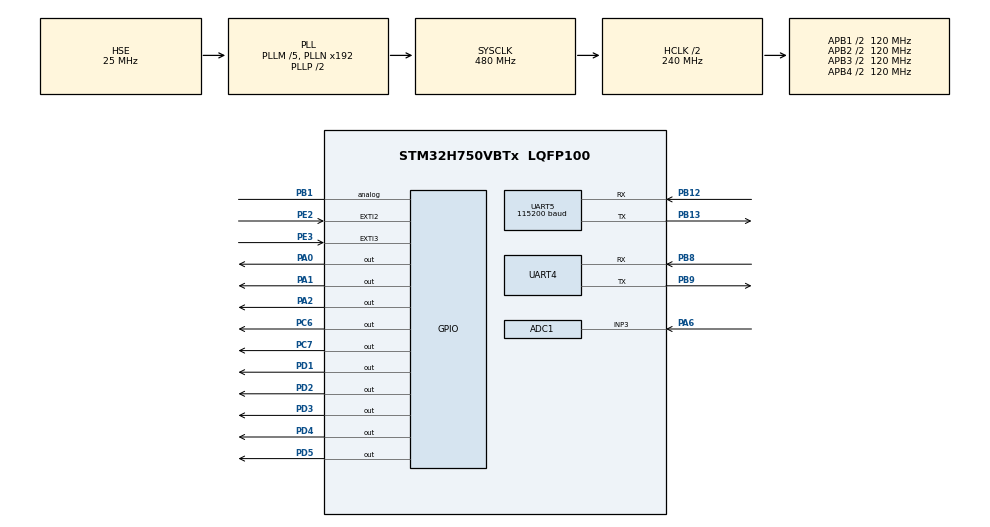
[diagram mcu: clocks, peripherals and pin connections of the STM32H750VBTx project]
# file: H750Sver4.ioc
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ADC1.Channel-0\#ChannelRegularConversion=ADC_CHANNEL_3
ADC1.ConversionDataManagement=ADC_CONVERSIONDATA_DMA_CIRCULAR
ADC1.ExternalTrigConv=ADC_EXTERNALTRIG_T1_TRGO
ADC1.NbrOfConversionFlag=1
ADC1.OffsetNumber-0\#ChannelRegularConversion=ADC_OFFSET_NONE
ADC1.OffsetSignedSaturation-0\#ChannelRegularConversion=DISABLE
ADC1.Overrun=ADC_OVR_DATA_OVERWRITTEN
ADC1.OversamplingMode=DISABLE
ADC1.Rank-0\#ChannelRegularConversion=1
ADC1.SamplingTime-0\#ChannelRegularConversion=ADC_SAMPLETIME_1CYCLE_5
ADC1.master=1
CORTEX_M7.default_mode_Activation=1
Dma.ADC1.0.Direction=DMA_PERIPH_TO_MEMORY
Dma.ADC1.0.EventEnable=DISABLE
Dma.ADC1.0.FIFOMode=DMA_FIFOMODE_DISABLE
Dma.ADC1.0.Instance=DMA1_Stream0
Dma.ADC1.0.MemDataAlignment=DMA_MDATAALIGN_WORD
Dma.ADC1.0.MemInc=DMA_MINC_ENABLE
Dma.ADC1.0.Mode=DMA_CIRCULAR
Dma.ADC1.0.PeriphDataAlignment=DMA_PDATAALIGN_WORD
Dma.ADC1.0.PeriphInc=DMA_PINC_DISABLE
Dma.ADC1.0.Polarity=HAL_DMAMUX_REQ_GEN_RISING
Dma.ADC1.0.Priority=DMA_PRIORITY_LOW
Dma.ADC1.0.RequestNumber=1
Dma.ADC1.0.SignalID=NONE
Dma.ADC1.0.SyncEnable=DISABLE
Dma.ADC1.0.SyncPolarity=HAL_DMAMUX_SYNC_NO_EVENT
Dma.ADC1.0.SyncRequestNumber=1
Dma.ADC1.0.SyncSignalID=NONE
Dma.Request0=ADC1
Mcu.Family=STM32H7
Mcu.Name=STM32H750VBTx
Mcu.Package=LQFP100
NVIC.ADC_IRQn=true\:2\:1\:true\:false\:true\:true\:true\:true
NVIC.DMA1_Stream0_IRQn=true\:2\:0\:true\:false\:true\:false\:true\:true
NVIC.EXTI2_IRQn=true\:5\:0\:true\:false\:true\:true\:true\:true
NVIC.EXTI3_IRQn=true\:5\:0\:true\:false\:true\:true\:true\:true
NVIC.PriorityGroup=NVIC_PRIORITYGROUP_3
NVIC.TIM1_UP_IRQn=true\:3\:0\:true\:false\:true\:true\:true\:true
NVIC.UART4_IRQn=true\:4\:0\:true\:false\:true\:true\:true\:true
NVIC.UART5_IRQn=true\:4\:0\:true\:false\:true\:true\:true\:true
PA0.Signal=GPIO_Output
PA1.GPIO_Speed=GPIO_SPEED_FREQ_LOW
PA1.Signal=GPIO_Output
PA13\ (JTMS/SWDIO).Mode=Serial_Wire
PA13\ (JTMS/SWDIO).Signal=DEBUG_JTMS-SWDIO
PA14\ (JTCK/SWCLK).Mode=Serial_Wire
PA14\ (JTCK/SWCLK).Signal=DEBUG_JTCK-SWCLK
PA2.GPIO_Speed=GPIO_SPEED_FREQ_LOW
PA2.Signal=GPIO_Output
PA6.Signal=SharedAnalog_PA6
PB1.Signal=SharedAnalog_PB1
PB12.Mode=Asynchronous
PB12.Signal=UART5_RX
PB13.Mode=Asynchronous
PB13.Signal=UART5_TX
PB8.Mode=Asynchronous
PB8.Signal=UART4_RX
PB9.Mode=Asynchronous
PB9.Signal=UART4_TX
PC6.GPIO_Speed=GPIO_SPEED_FREQ_HIGH
PC6.Signal=GPIO_Output
PC7.GPIO_Speed=GPIO_SPEED_FREQ_HIGH
PC7.Signal=GPIO_Output
PD1.Signal=GPIO_Output
PD2.Signal=GPIO_Output
PD3.Signal=GPIO_Output
PD4.Signal=GPIO_Output
PD5.Signal=GPIO_Output
PE2.GPIO_ModeDefaultEXTI=GPIO_MODE_IT_FALLING
PE2.GPIO_PuPd=GPIO_PULLDOWN
PE2.Signal=GPXTI2
PE3.GPIO_ModeDefaultEXTI=GPIO_MODE_IT_FALLING
PE3.GPIO_PuPd=GPIO_PULLDOWN
PE3.Signal=GPXTI3
PH0-OSC_IN\ (PH0).Mode=HSE-External-Oscillator
PH0-OSC_IN\ (PH0).Signal=RCC_OSC_IN
PH1-OSC_OUT\ (PH1).Mode=HSE-External-Oscillator
PH1-OSC_OUT\ (PH1).Signal=RCC_OSC_OUT
ProjectManager.HeapSize=0x200
ProjectManager.StackSize=0x400
ProjectManager.TargetToolchain=CMake
RCC.ADCCLockSelection=RCC_ADCCLKSOURCE_PLL3
RCC.ADCFreq_Value=20000000
RCC.APB1Freq_Value=120000000
RCC.APB2Freq_Value=120000000
RCC.APB3Freq_Value=120000000
RCC.APB4Freq_Value=120000000
RCC.CortexFreq_Value=480000000
RCC.D1PPRE=RCC_APB3_DIV2
RCC.D2PPRE1=RCC_APB1_DIV2
RCC.D2PPRE2=RCC_APB2_DIV2
RCC.D3PPRE=RCC_APB4_DIV2
RCC.DIVM1=5
RCC.DIVM2=25
RCC.DIVM3=25
RCC.DIVN1=192
RCC.DIVN2=240
RCC.DIVN3=200
RCC.DIVQ3=10
RCC.DIVR3=10
RCC.HCLKFreq_Value=240000000
RCC.HPRE=RCC_HCLK_DIV2
RCC.PLLSourceVirtual=RCC_PLLSOURCE_HSE
RCC.SYSCLKFreq_VALUE=480000000
RCC.SYSCLKSource=RCC_SYSCLKSOURCE_PLLCLK
RCC.USBFreq_Value=480000000
SH.SharedAnalog_PA6.0=GPIO_Analog
SH.SharedAnalog_PA6.1=ADC1_INP3,IN3-Single-Ended
SH.SharedAnalog_PB1.0=GPIO_Analog
SH.SharedAnalog_PB1.1=ADC1_INP5
TIM1.AutoReloadPreload=TIM_AUTORELOAD_PRELOAD_ENABLE
TIM1.Channel-PWM\ Generation1\ No\ Output=TIM_CHANNEL_1
TIM1.OCPolarity_1=TIM_OCPOLARITY_HIGH
TIM1.Period=2399
TIM1.Prescaler=99
TIM1.Pulse-PWM\ Generation1\ No\ Output=1199
TIM1.TIM_MasterOutputTrigger=TIM_TRGO_OC1REF
TIM2.AutoReloadPreload=TIM_AUTORELOAD_PRELOAD_ENABLE
TIM2.Channel-PWM\ Generation1\ No\ Output=TIM_CHANNEL_1
TIM2.OCPolarity_1=TIM_OCPOLARITY_LOW
TIM2.Period=2399
TIM2.Prescaler=99
TIM2.Pulse-PWM\ Generation1\ No\ Output=1199
TIM2.TIM_MasterOutputTrigger=TIM_TRGO_OC1REF
UART5.BaudRate=115200
VP_MEMORYMAP_VS_MEMORYMAP.Mode=CurAppReg
VP_TIM1_VS_ClockSourceINT.Mode=Internal
VP_TIM1_VS_no_output1.Mode=PWM Generation1 No Output
VP_TIM2_VS_ClockSourceINT.Mode=Internal
VP_TIM2_VS_no_output1.Mode=PWM Generation1 No Output
VP_VREFBUF_V_VREFBUF.Mode=ExternalMode
board=custom

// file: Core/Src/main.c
/* USER CODE BEGIN Header */
/**
  ******************************************************************************
  * @file           : main.c
  * @brief          : Main program body
  ******************************************************************************
  * @attention
  *
  * Copyright (c) 2025 STMicroelectronics.
  * All rights reserved.
  *
  * This software is licensed under terms that can be found in the LICENSE file
  * in the root directory of this software component.
  * If no LICENSE file comes with this software, it is provided AS-IS.
  *
  ******************************************************************************
  */
  /////////////////////////////////IMPORTANT NOTE: make sure to comment the UART4_HANDLER() in stm32h7xx_it.c
/* USER CODE END Header */
#include "main.h"
#include "adc.h"
#include "dma.h"
#include "tim.h"
#include "usart.h"
#include "gpio.h"

/* USER CODE BEGIN Includes */
#include "Serial.h"

#include "ADC_Custom.h"

#include "Key2.h"

#include "AD9959.h"

#include "delay.h"

#include "ch455.h"

/* USER CODE END Includes */

/* USER CODE BEGIN PV */

//extern const unsigned char BCD_decode_tab[0x10];
//extern uint16_t CH455_KEY_RX_FLAG;
//extern uint8_t CH455_KEY_NUM;

/*
Private var for DDS
*/
uint32_t CW_fre = 30000000;//CW initial fre
uint32_t CW_amp = 1023;//CW initial amp
// uint8_t a = 2,b=0,c=2,d=5;//CH455

/* USER CODE END PV */

void SystemClock_Config(void);
static void MPU_Config(void);

/* USER CODE BEGIN 0 */

/*
GPIO External Interrupt Callback Function
Pins: 	PC12-->LED4(PC6),PE3-->LED5(PC7)
				PC13-->CH455 INT

*/
void HAL_GPIO_EXTI_Callback(uint16_t GPIO_Pin)
{
	delay_ms(50);
	if(GPIO_Pin==GPIO_PIN_2)
	{
		if(GPIO_PIN_RESET==HAL_GPIO_ReadPin(GPIOE,GPIO_PIN_2))
		{
			HAL_GPIO_TogglePin(GPIOA, GPIO_PIN_0);
			if(led1_status==0)
			{
				Screen_SendStr("led4.val=1",FB_ON);//REMAINDER OF PREVIOUS PIN SETUP
				led1_status=1;
			}
			else
			{
				Screen_SendStr("led4.val=0",FB_ON);
				led1_status=0;
			}

		}//?? PC6
  }
	else if (GPIO_Pin == GPIO_PIN_3)
	{
		if (GPIO_PIN_RESET == HAL_GPIO_ReadPin(GPIOE, GPIO_PIN_3))//PE3
		{
			HAL_GPIO_TogglePin(GPIOA, GPIO_PIN_2);
			if(led2_status==0)
			{
				Screen_SendStr("led5.val=1",FB_ON);
				led2_status=1;
			}
			else
			{
				Screen_SendStr("led5.val=0",FB_ON);
				led2_status=0;
			}
		}//PC7
	}

	//CH455's input
	// if (GPIO_Pin == GPIO_PIN_13)
	// {
	// 	printf("CH455\r\n");
	// 	//PC13
	// 		CH455_KEY_RX_FLAG = 1;
	//
	// 		CH455_KEY_NUM = CH455_Key_Read();
	// 		__HAL_GPIO_EXTI_CLEAR_FLAG(GPIO_PIN_13);
	//
	// }
}

/* USER CODE END 0 */

int main(void)
{

  /* USER CODE BEGIN 1 */

  //MODIFIED from main.c's request method

  /* USER CODE END 1 */

  /* MPU Configuration--------------------------------------------------------*/
  MPU_Config();

  /* MCU Configuration--------------------------------------------------------*/

  /* Reset of all peripherals, Initializes the Flash interface and the Systick. */
  HAL_Init();

  /* Configure the system clock */
  SystemClock_Config();

  /* Initialize all configured peripherals */
  MX_GPIO_Init();
  MX_DMA_Init();
  MX_UART4_Init();
  MX_UART5_Init();
  MX_ADC1_Init();
  MX_TIM1_Init();
  MX_TIM2_Init();
  /* USER CODE BEGIN 2 */

	// printf("before TIM\r\n");
	HAL_TIM_Base_Start(&htim1);//tim1 init
	//HAL_TIM_Base_Start(&htim2);//tim2 init
	// printf("before ADC\r\n");

	HAL_ADC_Start_DMA(&hadc1,g_adc1_dma_data1,ADC_DATA_LENGTH);
	// printf("after ADC\r\n");

	//printf("before delay\r\n");
	delay_init(480);
	delay_ms(10);

	//Serial_printf("DDS1\r\n");
	Init_AD9959();
	AD9959_SetPhase4Channel(0,0,0,0);
	AD9959_SetFrequency4Channel(CW_fre,0,0,0);
	AD9959_SetAmp4Channel(CW_amp,0,0,0);
	IO_Update();
	Write_frequence(0,2000000);
	Write_Amplitude(0,2047);
	Write_Phase(0,0);
	//Serial_printf("DDS2\r\n");

	//CH455 Matrix Display(OBSOLETE)
	// CH455_init();
	// CH455_Display(1,a);
	// CH455_Display(2,b);
	// CH455_Display(3,c);
	// CH455_Display(4,d);

	__HAL_UART_ENABLE_IT(huart_debug, UART_IT_RXNE);
	//Serial_printf("\r\nIT_RXNE ENABLED\r\n");

	Serial_printf("\r\n===========INITIALIZATION COMPLETE==========\r\n\n");

	//printf("debug flag 1\r\n");
  /* USER CODE END 2 */

  /* Infinite loop */
	while (1)
	{

    /* USER CODE BEGIN 3 */
	ADC_DMA_Output();

	print4serial();
	print4screen();

  }
  /* USER CODE END 3 */
}

void SystemClock_Config(void)
{
  RCC_OscInitTypeDef RCC_OscInitStruct = {0};
  RCC_ClkInitTypeDef RCC_ClkInitStruct = {0};

  /** Supply configuration update enable
  */
  HAL_PWREx_ConfigSupply(PWR_LDO_SUPPLY);

  /** Configure the main internal regulator output voltage
  */
  __HAL_PWR_VOLTAGESCALING_CONFIG(PWR_REGULATOR_VOLTAGE_SCALE0);

  while(!__HAL_PWR_GET_FLAG(PWR_FLAG_VOSRDY)) {}

  /** Initializes the RCC Oscillators according to the specified parameters
  * in the RCC_OscInitTypeDef structure.
  */
  RCC_OscInitStruct.OscillatorType = RCC_OSCILLATORTYPE_HSE;
  RCC_OscInitStruct.HSEState = RCC_HSE_ON;
  RCC_OscInitStruct.PLL.PLLState = RCC_PLL_ON;
  RCC_OscInitStruct.PLL.PLLSource = RCC_PLLSOURCE_HSE;
  RCC_OscInitStruct.PLL.PLLM = 5;
  RCC_OscInitStruct.PLL.PLLN = 192;
  RCC_OscInitStruct.PLL.PLLP = 2;
  RCC_OscInitStruct.PLL.PLLQ = 2;
  RCC_OscInitStruct.PLL.PLLR = 2;
  RCC_OscInitStruct.PLL.PLLRGE = RCC_PLL1VCIRANGE_2;
  RCC_OscInitStruct.PLL.PLLVCOSEL = RCC_PLL1VCOWIDE;
  RCC_OscInitStruct.PLL.PLLFRACN = 0;
  if (HAL_RCC_OscConfig(&RCC_OscInitStruct) != HAL_OK)
  {
    Error_Handler();
  }

  /** Initializes the CPU, AHB and APB buses clocks
  */
  RCC_ClkInitStruct.ClockType = RCC_CLOCKTYPE_HCLK|RCC_CLOCKTYPE_SYSCLK
                              |RCC_CLOCKTYPE_PCLK1|RCC_CLOCKTYPE_PCLK2
                              |RCC_CLOCKTYPE_D3PCLK1|RCC_CLOCKTYPE_D1PCLK1;
  RCC_ClkInitStruct.SYSCLKSource = RCC_SYSCLKSOURCE_PLLCLK;
  RCC_ClkInitStruct.SYSCLKDivider = RCC_SYSCLK_DIV1;
  RCC_ClkInitStruct.AHBCLKDivider = RCC_HCLK_DIV2;
  RCC_ClkInitStruct.APB3CLKDivider = RCC_APB3_DIV2;
  RCC_ClkInitStruct.APB1CLKDivider = RCC_APB1_DIV2;
  RCC_ClkInitStruct.APB2CLKDivider = RCC_APB2_DIV2;
  RCC_ClkInitStruct.APB4CLKDivider = RCC_APB4_DIV2;

  if (HAL_RCC_ClockConfig(&RCC_ClkInitStruct, FLASH_LATENCY_4) != HAL_OK)
  {
    Error_Handler();
  }
}

 /* MPU Configuration */

void MPU_Config(void)
{
  MPU_Region_InitTypeDef MPU_InitStruct = {0};

  /* Disables the MPU */
  HAL_MPU_Disable();

  /** Initializes and configures the Region and the memory to be protected
  */
  MPU_InitStruct.Enable = MPU_REGION_ENABLE;
  MPU_InitStruct.Number = MPU_REGION_NUMBER0;
  MPU_InitStruct.BaseAddress = 0x0;
  MPU_InitStruct.Size = MPU_REGION_SIZE_4GB;
  MPU_InitStruct.SubRegionDisable = 0x87;
  MPU_InitStruct.TypeExtField = MPU_TEX_LEVEL0;
  MPU_InitStruct.AccessPermission = MPU_REGION_NO_ACCESS;
  MPU_InitStruct.DisableExec = MPU_INSTRUCTION_ACCESS_DISABLE;
  MPU_InitStruct.IsShareable = MPU_ACCESS_SHAREABLE;
  MPU_InitStruct.IsCacheable = MPU_ACCESS_NOT_CACHEABLE;
  MPU_InitStruct.IsBufferable = MPU_ACCESS_NOT_BUFFERABLE;

  HAL_MPU_ConfigRegion(&MPU_InitStruct);
  /* Enables the MPU */
  HAL_MPU_Enable(MPU_PRIVILEGED_DEFAULT);

}

void Error_Handler(void)
{
  __disable_irq();
  while (1)
  {
  }
}
